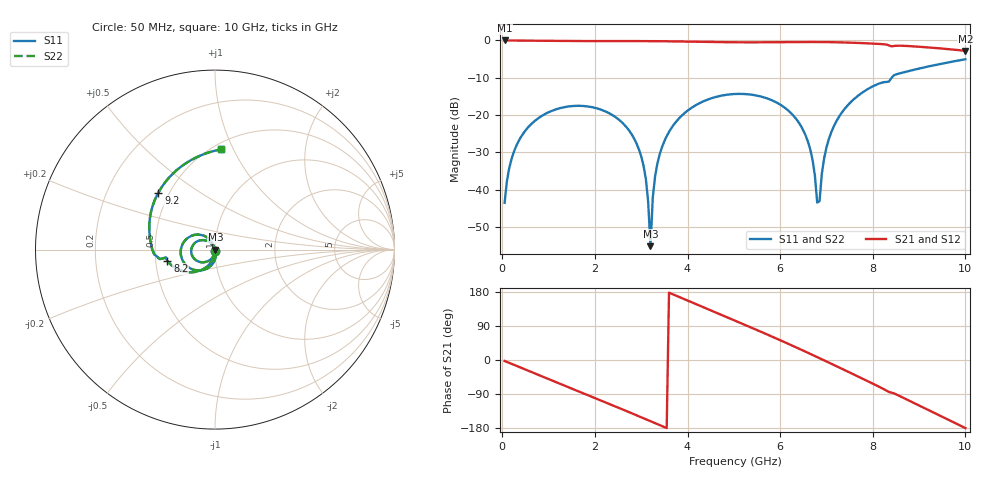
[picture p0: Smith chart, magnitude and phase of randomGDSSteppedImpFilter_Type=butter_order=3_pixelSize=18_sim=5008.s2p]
! freq	dB(S11)	phase(S11)	dB(S12)	phase(S12)
!  dB(S21)	phase(S21)	dB(S22)	phase(S22)
!S-par simulation data
#  GHz  S  DB  R 50
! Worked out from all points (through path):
!   200 points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, 50 MHz to 10 GHz, reference 50 ohm
!   highest |S21| = -0.01 dB at 50 MHz (marker M1); lowest = -2.8 dB at 10 GHz (marker M2)
!   group delay of S21, straight-line fit = 149 ps
!   lowest |S11| = -55.1 dB at 3.2 GHz (marker M3), VSWR 1.00, Z = 50.2 - j0.0234 ohm
!   |S11| at or under -10 dB: start of sweep to 8.409 GHz
!   |S22| runs from -58.0 to -5.0 dB; largest |S21 - S12| = 0
!   S11 on the Smith chart (normalised r, x): 50 MHz: 1.00, -0.01; 8.2 GHz: 0.58, -0.08; 9.2 GHz: 0.44, +0.35; 10 GHz: 0.55, +0.90
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0.05  -43.48 -82.1  -0.01 -2.6  -0.01 -2.6  -43.48 -82.1
0.2  -31.72 -97.8  -0.03 -10.2  -0.03 -10.2  -31.72 -97.8
0.5  -24.12 -115.1  -0.06 -25.3  -0.06 -25.3  -24.12 -115.1
1.75  -17.56 -178.8  -0.18 -87.7  -0.18 -87.7  -17.56 -178.6
2.9  -27.63 121.6  -0.18 -145.9  -0.18 -145.9  -27.63 122.6
3.1  -37.09 107.9  -0.19 -156.3  -0.19 -156.3  -37.11 111.1
3.15  -43.28 99.9  -0.19 -158.9  -0.19 -158.9  -43.38 106.7
3.2  -55.09 -7.6  -0.20 -161.5  -0.20 -161.5  -57.98 -30.4
3.25  -42.00 -65.2  -0.20 -164.0  -0.20 -164.0  -42.12 -71.5
3.4  -30.44 -80.1  -0.22 -171.8  -0.22 -171.8  -30.45 -81.8
4  -18.82 -112.8  -0.32 156.9  -0.32 156.9  -18.82 -113.3
5.05  -14.33 -166.9  -0.51 102.5  -0.51 102.5  -14.33 -167.3
6.15  -18.52 135.8  -0.46 44.1  -0.46 44.1  -18.52 135.2
6.7  -32.00 113.2  -0.43 13.4  -0.43 13.4  -32.06 110.5
6.8  -43.42 142.5  -0.43 7.7  -0.43 7.7  -44.39 135.3
6.85  -43.05 -126.1  -0.43 4.8  -0.43 4.8  -43.94 -118.3
6.95  -31.52 -101.4  -0.45 -0.9  -0.45 -0.9  -31.58 -99.0
7.2  -21.97 -109.5  -0.49 -15.4  -0.49 -15.4  -21.98 -108.7
8.2  -11.30 -166.7  -0.99 -74.5  -0.99 -74.5  -11.30 -166.5
8.35  -11.02 -170.8  -1.34 -84.5  -1.34 -84.5  -11.01 -170.6
9.2  -6.98 134.8  -1.88 -131.9  -1.88 -131.9  -6.98 134.8
10  -5.05 86.4  -2.80 -179.8  -2.80 -179.8  -5.05 86.5
